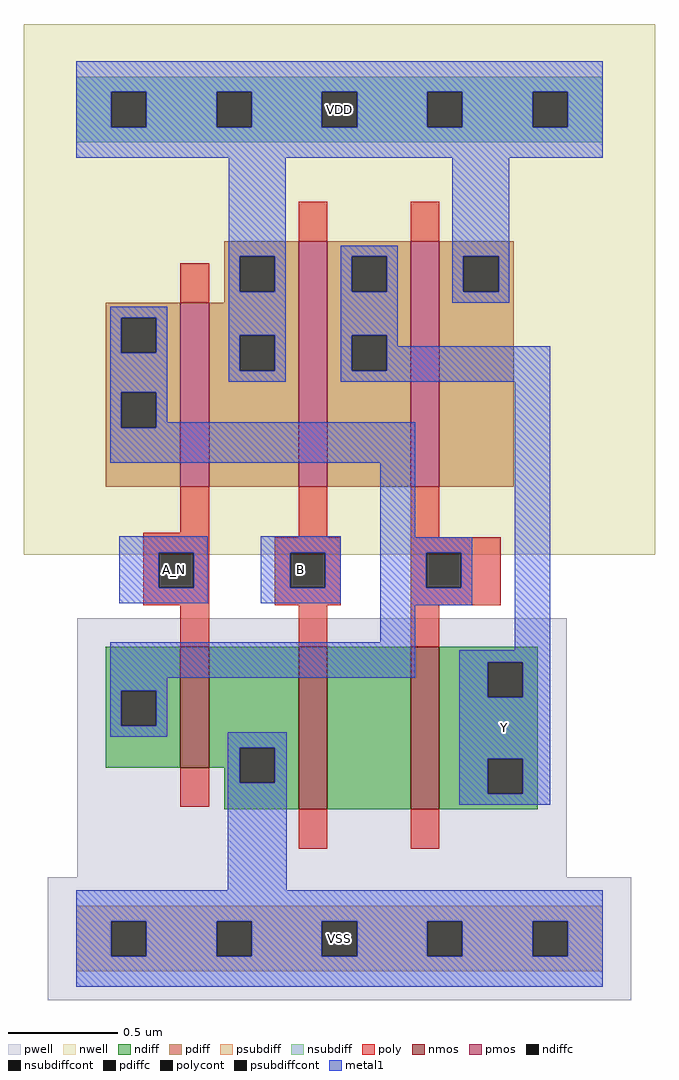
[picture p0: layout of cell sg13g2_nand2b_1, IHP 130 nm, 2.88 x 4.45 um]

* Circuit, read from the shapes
.subckt sg13g2_nand2b_1 VSS A_N Y B VDD
XM1 VSS A_N n1 VSS sg13_lv_nmos w=0.55u l=0.13u
XM2 n2 B VSS VSS sg13_lv_nmos w=0.74u l=0.13u
XM3 Y n1 n2 VSS sg13_lv_nmos w=0.74u l=0.13u
XM4 VDD A_N n1 VDD sg13_lv_pmos w=0.84u l=0.13u
XM5 Y B VDD VDD sg13_lv_pmos w=1.12u l=0.13u
XM6 VDD n1 Y VDD sg13_lv_pmos w=1.12u l=0.13u
.ends

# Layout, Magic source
magic
tech ihp-sg13g2
magscale 1 2
<< nwell >>
rect -48 350 528 834
<< pwell >>
rect 1 56 447 292
rect -26 -56 506 56
<< nmos >>
rect 95 156 121 266
rect 203 118 229 266
rect 305 118 331 266
<< pmos >>
rect 95 412 121 580
rect 203 412 229 636
rect 305 412 331 636
<< ndiff >>
rect 27 226 95 266
rect 27 194 41 226
rect 73 194 95 226
rect 27 156 95 194
rect 121 174 203 266
rect 121 156 149 174
rect 135 142 149 156
rect 181 142 203 174
rect 135 118 203 142
rect 229 118 305 266
rect 331 252 421 266
rect 331 220 375 252
rect 407 220 421 252
rect 331 164 421 220
rect 331 132 375 164
rect 407 132 421 164
rect 331 118 421 132
<< pdiff >>
rect 135 622 203 636
rect 135 590 149 622
rect 181 590 203 622
rect 135 580 203 590
rect 27 566 95 580
rect 27 534 41 566
rect 73 534 95 566
rect 27 498 95 534
rect 27 466 41 498
rect 73 466 95 498
rect 27 412 95 466
rect 121 550 203 580
rect 121 518 149 550
rect 181 518 203 550
rect 121 412 203 518
rect 229 622 305 636
rect 229 590 251 622
rect 283 590 305 622
rect 229 550 305 590
rect 229 518 251 550
rect 283 518 305 550
rect 229 412 305 518
rect 331 622 399 636
rect 331 590 353 622
rect 385 590 399 622
rect 331 412 399 590
<< ndiffc >>
rect 41 194 73 226
rect 149 142 181 174
rect 375 220 407 252
rect 375 132 407 164
<< pdiffc >>
rect 149 590 181 622
rect 41 534 73 566
rect 41 466 73 498
rect 149 518 181 550
rect 251 590 283 622
rect 251 518 283 550
rect 353 590 385 622
<< psubdiff >>
rect 0 16 480 30
rect 0 -16 32 16
rect 64 -16 128 16
rect 160 -16 224 16
rect 256 -16 320 16
rect 352 -16 416 16
rect 448 -16 480 16
rect 0 -30 480 -16
<< nsubdiff >>
rect 0 772 480 786
rect 0 740 32 772
rect 64 740 128 772
rect 160 740 224 772
rect 256 740 320 772
rect 352 740 416 772
rect 448 740 480 772
rect 0 726 480 740
<< psubdiffcont >>
rect 32 -16 64 16
rect 128 -16 160 16
rect 224 -16 256 16
rect 320 -16 352 16
rect 416 -16 448 16
<< nsubdiffcont >>
rect 32 740 64 772
rect 128 740 160 772
rect 224 740 256 772
rect 320 740 352 772
rect 416 740 448 772
<< poly >>
rect 203 636 229 672
rect 305 636 331 672
rect 95 580 121 616
rect 95 370 121 412
rect 61 352 121 370
rect 203 366 229 412
rect 305 366 331 412
rect 61 320 75 352
rect 107 320 121 352
rect 61 304 121 320
rect 181 352 241 366
rect 181 320 195 352
rect 227 320 241 352
rect 181 304 241 320
rect 305 352 387 366
rect 305 320 319 352
rect 351 320 387 352
rect 305 304 387 320
rect 95 266 121 304
rect 203 266 229 304
rect 305 266 331 304
rect 95 120 121 156
rect 203 82 229 118
rect 305 82 331 118
<< polycont >>
rect 75 320 107 352
rect 195 320 227 352
rect 319 320 351 352
<< metal1 >>
rect 0 772 480 800
rect 0 740 32 772
rect 64 740 128 772
rect 160 740 224 772
rect 256 740 320 772
rect 352 740 416 772
rect 448 740 480 772
rect 0 712 480 740
rect 139 622 191 712
rect 139 590 149 622
rect 181 590 191 622
rect 31 566 83 576
rect 31 534 41 566
rect 73 534 83 566
rect 31 498 83 534
rect 139 550 191 590
rect 139 518 149 550
rect 181 518 191 550
rect 139 508 191 518
rect 241 622 293 632
rect 241 590 251 622
rect 283 590 293 622
rect 241 550 293 590
rect 343 622 395 712
rect 343 590 353 622
rect 385 590 395 622
rect 343 580 395 590
rect 241 518 251 550
rect 283 540 293 550
rect 283 518 432 540
rect 241 508 432 518
rect 31 466 41 498
rect 73 471 83 498
rect 73 466 309 471
rect 31 434 309 466
rect 39 352 120 367
rect 39 320 75 352
rect 107 320 120 352
rect 39 306 120 320
rect 168 352 241 367
rect 168 320 195 352
rect 227 320 241 352
rect 168 306 241 320
rect 277 366 309 434
rect 277 352 361 366
rect 277 320 319 352
rect 351 320 361 352
rect 277 304 361 320
rect 277 270 309 304
rect 31 238 309 270
rect 400 263 432 508
rect 349 252 432 263
rect 31 226 83 238
rect 31 194 41 226
rect 73 194 83 226
rect 31 184 83 194
rect 349 220 375 252
rect 407 220 432 252
rect 138 174 192 188
rect 138 142 149 174
rect 181 142 192 174
rect 138 44 192 142
rect 349 164 432 220
rect 349 132 375 164
rect 407 132 432 164
rect 349 122 432 132
rect 0 16 480 44
rect 0 -16 32 16
rect 64 -16 128 16
rect 160 -16 224 16
rect 256 -16 320 16
rect 352 -16 416 16
rect 448 -16 480 16
rect 0 -44 480 -16
<< labels >>
flabel metal1 s 0 -44 480 44 0 FreeSans 400 0 0 0 VSS
port 2 nsew
flabel metal1 s 59 306 120 367 0 FreeSans 400 0 0 0 A_N
port 3 nsew
flabel metal1 s 349 122 432 263 0 FreeSans 400 0 0 0 Y
port 4 nsew
flabel metal1 s 168 306 241 367 0 FreeSans 400 0 0 0 B
port 5 nsew
flabel metal1 s 0 712 480 800 0 FreeSans 400 0 0 0 VDD
port 6 nsew
<< properties >>
string FIXED_BBOX 0 0 480 756
string GDS_END 186618
string GDS_FILE 6_final.gds
string GDS_START 182290
<< end >>
